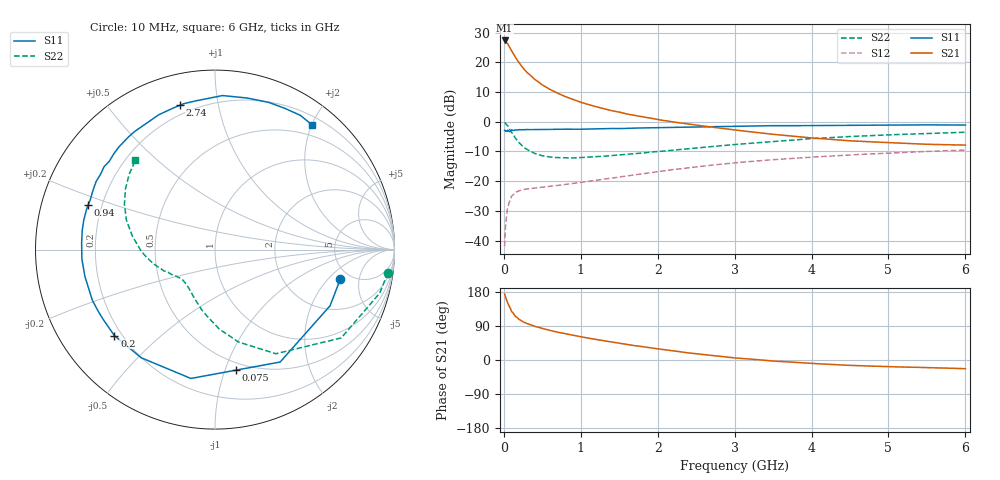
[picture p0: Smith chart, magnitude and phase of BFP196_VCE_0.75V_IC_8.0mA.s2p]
! Infineon Technologies  Discrete & RF Semiconductors
! BFP196
! VCE = 0.75V,  IC = 8.0mA
! Common Emitter S-Parameters:  Jan 2016
# GHz  S  MA  R  50
!  f  S11  S21  S12  S22
! GHz  MAG  ANG  MAG  ANG  MAG  ANG  MAG  ANG
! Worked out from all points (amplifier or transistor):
!   210 points, 10 MHz to 6 GHz, reference 50 ohm
!   highest |S21| = 27.3 dB at 10 MHz (marker M1)
!   |S21| within 3 dB of that: start of sweep to 90.58 MHz
!   unconditionally stable (mu >= 1): 903.9 MHz to end of sweep
!   at 185 MHz: K = 0.27, MSG = 21.8 dB, |S12| = -23.4 dB
!   at 1.52 GHz: K = 1.19, MAG = 8.2 dB, |S12| = -18.5 dB
!   at 6 GHz: K = 1.04, MAG = -0.3 dB, |S12| = -9.5 dB
!   S11 on the Smith chart (normalised r, x): 10 MHz: 4.08, -2.79; 75 MHz: 0.43, -1.09; 200 MHz: 0.17, -0.36; 940 MHz: 0.15, +0.17; 2.74 GHz: 0.15, +0.78; 6 GHz: 0.32, +2.00
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0.01  0.717 -13.4  23.25 174.3  0.0081 83.3  0.9719 -7.6
0.02  0.7135 -26.0  22.61 166.7  0.016 78.2  0.9492 -14.8
0.05  0.7239 -59.9  20.45 149.4  0.0363 62.4  0.8582 -35.0
0.075  0.6818 -80.3  17.82 140.3  0.0456 51.9  0.7477 -45.8
0.1  0.7304 -100.6  15.77 128.5  0.056 45.1  0.6721 -59.7
0.15  0.7295 -124.3  12.1 115.3  0.0646 35.7  0.5315 -75.7
0.2  0.7375 -139.5  9.699 106.8  0.0694 30.7  0.4423 -87.0
0.26  0.7356 -151.4  7.707 99.7  0.0727 27.5  0.3729 -96.9
0.3  0.7394 -157.5  6.754 96.0  0.0741 26.5  0.3433 -102.5
0.4  0.7401 -168.4  5.175 89.0  0.0768 25.3  0.2935 -113.2
0.5  0.7434 -175.9  4.163 83.3  0.0792 25.8  0.268 -120.7
0.6  0.7439 177.3  3.494 78.0  0.0822 26.8  0.2555 -126.2
0.7  0.7475 171.7  3.017 73.1  0.0849 27.9  0.2497 -130.8
0.94  0.7488 160.7  2.262 63.8  0.0935 31.4  0.2477 -138.5
1.02  0.7498 157.1  2.088 60.7  0.0964 32.1  0.2504 -140.3
1.4  0.7716 143.2  1.538 47.6  0.1125 35.2  0.27 -147.9
2.02  0.7959 123.7  1.08 29.0  0.1466 36.3  0.3169 -159.9
2.74  0.8276 103.6  0.802 11.3  0.1887 32.3  0.3864 -174.2
3.1  0.838 95.4  0.703 4.1  0.2092 28.8  0.4235 178.4
4.1  0.8639 76.4  0.523 -10.1  0.2584 18.3  0.5281 159.9
5.1  0.8787 62.5  0.44 -18.1  0.3011 7.2  0.6082 144.5
6  0.8805 52.1  0.405 -22.9  0.3342 -3.2  0.6662 131.8
